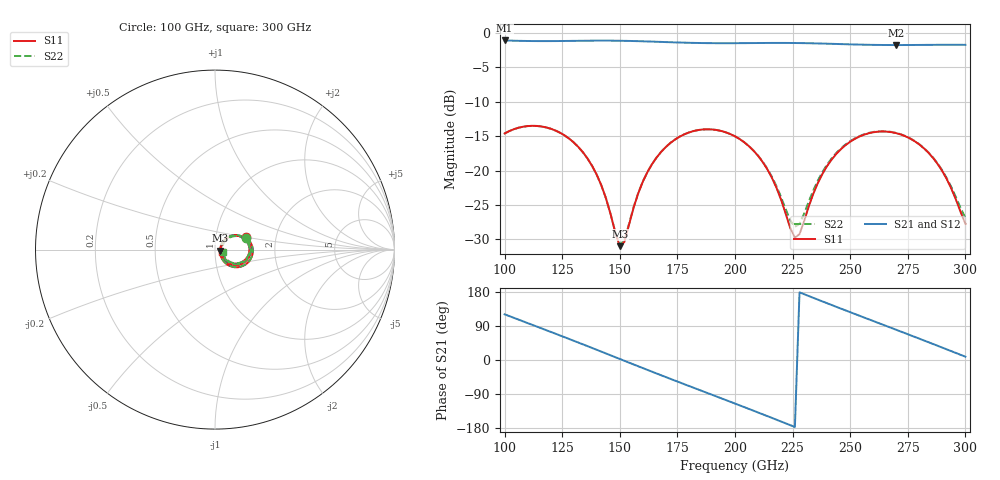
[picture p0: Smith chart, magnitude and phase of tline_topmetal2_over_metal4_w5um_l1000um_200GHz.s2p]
#  GHZ S DB R 50
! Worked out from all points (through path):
!   101 points, 100 GHz to 300 GHz, reference 50 ohm
!   highest |S21| = -1.13 dB at 100 GHz (marker M1); lowest = -1.8 dB at 270 GHz (marker M2)
!   group delay of S21, straight-line fit = 6.56 ps
!   lowest |S11| = -31.0 dB at 150 GHz (marker M3), VSWR 1.06, Z = 52.8 - j0.663 ohm
!   |S11| at or under -10 dB: start of sweep to end of sweep
!   |S22| runs from -30.8 to -13.5 dB; largest |S21 - S12| = 1e-13
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100  -14.63 21.3  -1.13 120.6  -1.13 120.6  -14.62 21.2
116  -13.61 -10.8  -1.22 83.5  -1.22 83.5  -13.61 -10.6
124  -14.51 -26.7  -1.21 64.9  -1.21 64.9  -14.51 -26.3
134  -17.35 -45.0  -1.18 41.3  -1.18 41.3  -17.37 -44.4
142  -22.16 -53.7  -1.16 22.1  -1.16 22.1  -22.17 -52.8
150  -30.98 -12.8  -1.18 2.7  -1.18 2.7  -30.76 -11.6
152  -30.35 16.6  -1.19 -2.1  -1.19 -2.1  -30.12 16.9
160  -21.62 45.5  -1.25 -21.4  -1.25 -21.4  -21.57 45.6
168  -17.28 35.9  -1.34 -40.4  -1.34 -40.4  -17.26 36.3
184  -14.13 6.2  -1.50 -77.8  -1.50 -77.8  -14.13 7.1
200  -15.04 -24.5  -1.53 -115.0  -1.53 -115.0  -15.04 -22.8
214  -19.81 -46.2  -1.49 -148.0  -1.49 -148.0  -19.71 -42.6
226  -29.75 -7.9  -1.50 -176.7  -1.50 -176.7  -28.17 -5.0
228  -29.23 15.5  -1.51 178.4  -1.51 178.4  -27.73 13.8
234  -23.37 43.3  -1.55 164.1  -1.55 164.1  -22.86 39.4
240  -19.34 41.3  -1.60 149.7  -1.60 149.7  -19.12 38.7
248  -16.31 29.6  -1.68 130.9  -1.68 130.9  -16.21 28.0
258  -14.60 11.4  -1.76 107.5  -1.76 107.5  -14.54 10.6
268  -14.44 -7.5  -1.80 84.3  -1.80 84.3  -14.41 -7.7
270  -14.58 -11.3  -1.80 79.7  -1.80 79.7  -14.55 -11.3
286  -18.19 -38.1  -1.77 42.1  -1.77 42.1  -18.13 -36.7
300  -27.73 -20.8  -1.77 8.7  -1.77 8.7  -26.85 -17.6
